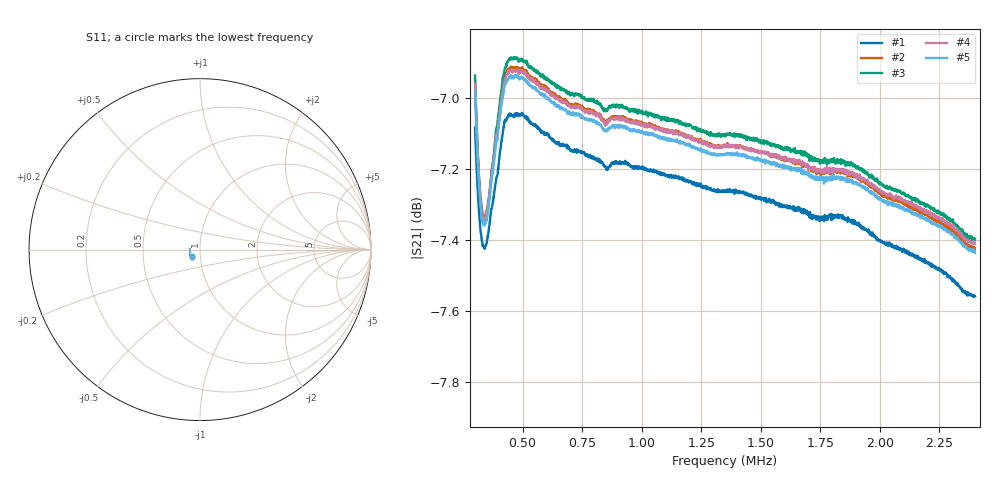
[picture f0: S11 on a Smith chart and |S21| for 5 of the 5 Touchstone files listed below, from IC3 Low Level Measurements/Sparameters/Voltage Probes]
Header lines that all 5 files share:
#  HZ  S  DB  R  50.00
! Rohde & Schwarz Vector Network Analyzer
! Rohde-Schwarz,ZNB8-4Port,1311601044102961,2.82
! freq[Hz]  db:S11  ang:S11  db:S12  ang:S12  db:S13  ang:S13
!  db:S21  ang:S21  db:S22  ang:S22  db:S23  ang:S23
!  db:S31  ang:S31  db:S32  ang:S32  db:S33  ang:S33
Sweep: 300 kHz to 2.4 MHz
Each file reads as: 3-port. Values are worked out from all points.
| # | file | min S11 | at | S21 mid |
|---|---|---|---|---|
| 1 | Sonde1.s3p | -24.8 dB | 2.364 MHz | -7.3 dB at 1.35 MHz |
| 2 | Sonde2.s3p | -24.7 dB | 2.381 MHz | -7.1 dB at 1.35 MHz |
| 3 | Sonde3.s3p | -24.6 dB | 2.151 MHz | -7.1 dB at 1.35 MHz |
| 4 | Sonde4.s3p | -24.7 dB | 2.318 MHz | -7.1 dB at 1.35 MHz |
| 5 | Sonde4_Mesure2.s3p | -24.7 dB | 2.292 MHz | -7.2 dB at 1.35 MHz |
